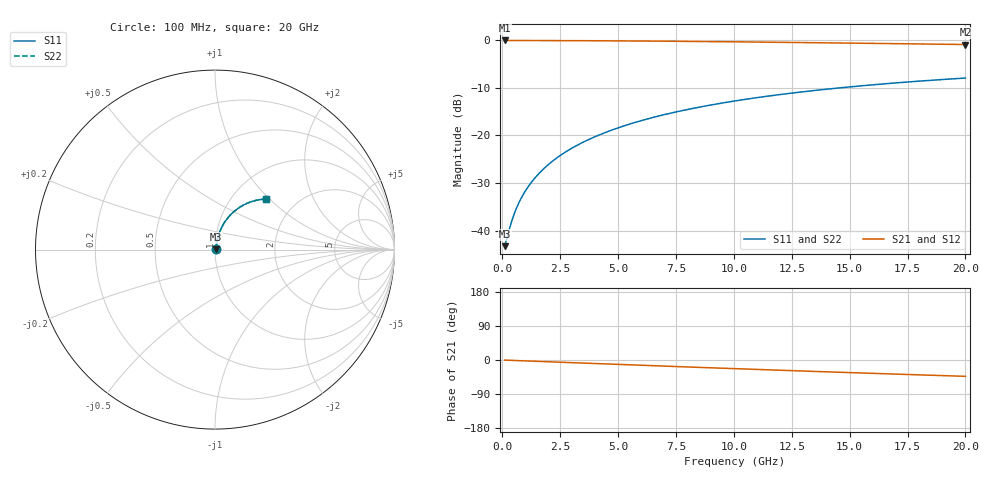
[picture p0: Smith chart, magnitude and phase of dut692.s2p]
! Touchstone file exported from HFSS 2026.1.0
!  File:  C:/ffzhzh/LocalFiles/Ansys_Project_Files/temp_train_TMRDL_692_1783010345_55676.aedt
!  Generated:  12:40:31 AM Jul  3, 2026
!  Design:  TMRDL
!  Project:  temp_train_TMRDL_692_1783010345_55676
! Variables:
!  h_bsmrdl = 2um
!  h_ox = 20um
!  h_rdl = 5um
!  h_sub = 80um
!  h_tmrdl = 2.66um
!  h_tsv = 80um
!  h_via = 3um
!  l_bsmrdl = 300um
!  l_sub = 1040.72um
!  l_tmrdl = 640.72um
!  m_sub = 200um
!  pitch = 32.42um
!  r_tsv = 6um
!  s_tmrdl = 10um
!  w_bsmrdl = 18um
!  w_sub = 500um
!  w_tmrdl = 13.66um
!  x_tsv_center1 = 647.55um
!  x_tsv_center2 = 965.55um
!  x_tsv_center3 = 1619.93um
!  x_tsv_center4 = 1937.93um
!  x_tsv_center5 = 2592.31um
!  x_tsv_center6 = 2910.31um
# GHz S MA R 50.000000
! Terminal data exported
! Port[1] = TM_RDL1_1_T1
! Port[2] = TM_RDL1_1_T2
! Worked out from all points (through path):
!   200 points, 100 MHz to 20 GHz, reference 50 ohm
!   highest |S21| = -0.06 dB at 100 MHz (marker M1); lowest = -0.9 dB at 20 GHz (marker M2)
!   group delay of S21, straight-line fit = 5.99 ps
!   lowest |S11| = -43.3 dB at 100 MHz (marker M3), VSWR 1.01, Z = 50.6 + j0.267 ohm
!   |S11| at or under -10 dB: start of sweep to 14.6 GHz
!   |S22| runs from -43.3 to -8.0 dB; largest |S21 - S12| = 2.4e-15
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0.1  0.006865 22.6  0.9937 -0.2  0.9937 -0.2  0.006865 22.6
! Gamma 0 0 0 0
! Port Impedance 50 0 50 0
0.4  0.01241 56.4  0.9932 -1.0  0.9932 -1.0  0.01241 56.4
0.5  0.01465 60.9  0.9931 -1.2  0.9931 -1.2  0.01465 60.9
0.6  0.01694 64.1  0.9929 -1.5  0.9929 -1.5  0.01694 64.1
0.7  0.01924 66.5  0.9927 -1.7  0.9927 -1.7  0.01924 66.5
0.9  0.02386 69.9  0.9924 -2.2  0.9924 -2.2  0.02386 69.9
1.2  0.03083 72.8  0.9919 -2.8  0.9919 -2.8  0.03083 72.9
1.4  0.03551 74.1  0.9917 -3.3  0.9917 -3.3  0.03551 74.1
1.7  0.04256 75.3  0.9913 -4.0  0.9913 -4.0  0.04256 75.3
2.2  0.05437 76.3  0.9905 -5.2  0.9905 -5.2  0.05437 76.3
2.8  0.06856 76.5  0.9894 -6.6  0.9894 -6.6  0.06856 76.5
3.5  0.08508 76.1  0.9879 -8.2  0.9879 -8.2  0.08508 76.1
4.2  0.1015 75.2  0.9861 -9.8  0.9861 -9.8  0.1015 75.2
5  0.1201 74.0  0.9836 -11.6  0.9836 -11.6  0.1201 74.0
5.9  0.1406 72.4  0.9805 -13.7  0.9805 -13.7  0.1406 72.4
6.8  0.1609 70.7  0.9769 -15.7  0.9769 -15.7  0.1609 70.7
8.3  0.1936 67.7  0.9702 -19.1  0.9702 -19.1  0.1936 67.8
10.1  0.2312 64.1  0.9611 -23.0  0.9611 -23.0  0.2312 64.1
11.7  0.263 60.8  0.9522 -26.4  0.9522 -26.4  0.263 60.9
13.4  0.2949 57.4  0.9421 -30.0  0.9421 -30.0  0.2949 57.4
16.7  0.3513 50.9  0.9215 -36.7  0.9215 -36.7  0.3513 51.0
20  0.4004 44.7  0.9007 -43.1  0.9007 -43.1  0.4004 44.8
